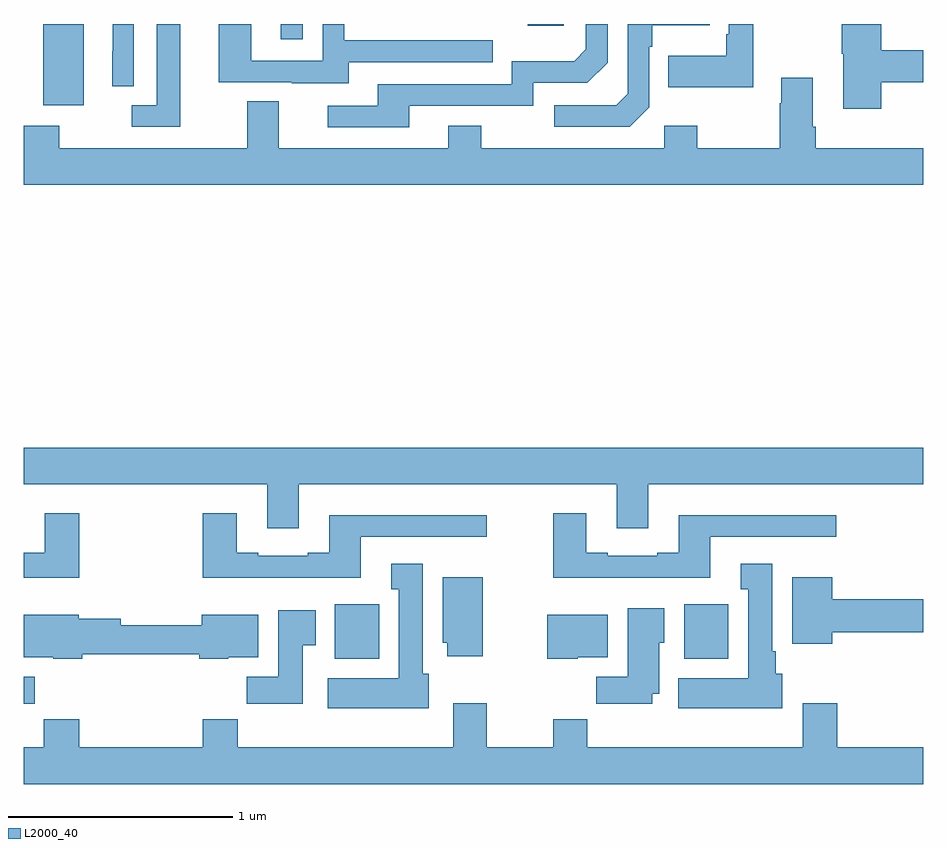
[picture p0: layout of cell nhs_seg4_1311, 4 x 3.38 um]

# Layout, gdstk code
import gdstk
lib = gdstk.Library(unit=1e-6, precision=1e-09)
def R(c, l, rs):  # rectangles x0, y0, x1, y1
    for r in rs: c.add(gdstk.rectangle(r[:2], r[2:], *l))
def P(c, l, *ps):  # polygons
    for p in ps: c.add(gdstk.Polygon(p, *l))
L2000_40 = (2000, 40)

nhs_seg4_1311 = lib.new_cell('nhs_seg4_1311')
R(nhs_seg4_1311, L2000_40, [(179,763.878,179.048,763.996), (180.383,764.078,180.58,764.32), (181.937,764.078,182.134,764.32), (179.087,766.538,179.266,766.899), (180.143,766.833,180.24,766.9), (181.241,766.892,181.402,766.9)])
P(nhs_seg4_1311, L2000_40, [(179.695,766.9),(179.591,766.9),(179.591,766.539),(179.481,766.539),(179.481,766.443),(179.695,766.443)],
  [(182.813,766.642),(183,766.642),(183,766.784),(182.813,766.784),(182.813,766.9),(182.638,766.9),(182.638,766.767),(182.645,766.767),(182.645,766.524),(182.813,766.524)],
  [(179.49,766.9),(179.396,766.9),(179.396,766.778),(179.394,766.778),(179.394,766.624),(179.49,766.624)],
  [(181.782,766.53),(181.782,766.799),(181.795,766.799),(181.795,766.895),(182.051,766.895),(182.051,766.9),(181.686,766.9),(181.686,766.59),(181.635,766.539),(181.359,766.539),(181.359,766.443),(181.695,766.443)],
  [(180.445,766.731),(181.085,766.731),(181.085,766.827),(180.426,766.827),(180.426,766.9),(180.33,766.9),(180.33,766.737),(180.012,766.737),(180.012,766.9),(179.867,766.9),(179.867,766.641),(180.191,766.641),(180.191,766.637),(180.445,766.637)],
  [(182.245,766.9),(182.136,766.9),(182.136,766.855),(182.124,766.855),(182.124,766.759),(181.867,766.759),(181.867,766.619),(182.245,766.619)],
  [(180.715,766.536),(181.266,766.536),(181.266,766.638),(181.506,766.638),(181.596,766.728),(181.596,766.9),(181.5,766.9),(181.5,766.788),(181.447,766.735),(181.17,766.735),(181.17,766.632),(180.575,766.632),(180.575,766.536),(180.351,766.536),(180.351,766.44),(180.715,766.44)],
  [(183,766.348),(182.522,766.348),(182.522,766.444),(182.509,766.444),(182.509,766.66),(182.369,766.66),(182.369,766.547),(182.362,766.547),(182.362,766.348),(181.995,766.348),(181.995,766.447),(181.848,766.447),(181.848,766.348),(181.035,766.348),(181.035,766.447),(180.887,766.447),(180.887,766.348),(180.133,766.348),(180.133,766.556),(179.993,766.556),(179.993,766.348),(179.157,766.348),(179.157,766.447),(179,766.447),(179,766.184),(183,766.184)],
  [(180.223,764.852),(181.637,764.852),(181.637,764.658),(181.777,764.658),(181.777,764.852),(183,764.852),(183,765.016),(179,765.016),(179,764.852),(180.083,764.852),(180.083,764.658),(180.223,764.658)],
  [(180.499,764.619),(181.06,764.619),(181.06,764.716),(180.359,764.716),(180.359,764.548),(180.263,764.548),(180.263,764.535),(180.043,764.535),(180.043,764.548),(179.947,764.548),(179.947,764.725),(179.795,764.725),(179.795,764.438),(180.499,764.438)],
  [(182.053,764.619),(182.614,764.619),(182.614,764.716),(181.913,764.716),(181.913,764.548),(181.817,764.548),(181.817,764.535),(181.597,764.535),(181.597,764.548),(181.501,764.548),(181.501,764.725),(181.354,764.725),(181.354,764.438),(182.053,764.438)],
  [(179.246,764.725),(179.093,764.725),(179.093,764.548),(179,764.548),(179,764.438),(179.246,764.438)],
  [(180.802,764.01),(180.775,764.01),(180.775,764.5),(180.635,764.5),(180.635,764.387),(180.668,764.387),(180.668,763.99),(180.351,763.99),(180.351,763.856),(180.802,763.856)],
  [(182.374,764.01),(182.344,764.01),(182.344,764.11),(182.329,764.11),(182.329,764.5),(182.189,764.5),(182.189,764.387),(182.222,764.387),(182.222,763.99),(181.91,763.99),(181.91,763.856),(182.374,763.856)],
  [(181.042,764.44),(180.863,764.44),(180.863,764.148),(180.884,764.148),(180.884,764.088),(181.042,764.088)],
  [(182.596,764.195),(183,764.195),(183,764.342),(182.596,764.342),(182.596,764.44),(182.417,764.44),(182.417,764.144),(182.596,764.144)],
  [(181.795,763.922),(181.825,763.922),(181.825,764.148),(181.849,764.148),(181.849,764.302),(181.685,764.302),(181.685,763.996),(181.546,763.996),(181.546,763.878),(181.795,763.878)],
  [(180.241,764.137),(180.298,764.137),(180.298,764.293),(180.131,764.293),(180.131,763.996),(179.992,763.996),(179.992,763.878),(180.241,763.878)],
  [(181.464,764.084),(181.597,764.084),(181.597,764.272),(181.328,764.272),(181.328,764.078),(181.464,764.078)],
  [(179.261,764.097),(179.78,764.097),(179.78,764.078),(179.91,764.078),(179.91,764.084),(180.043,764.084),(180.043,764.272),(179.792,764.272),(179.792,764.225),(179.431,764.225),(179.431,764.254),(179.244,764.254),(179.244,764.272),(179,764.272),(179,764.084),(179.13,764.084),(179.13,764.078),(179.261,764.078)],
  [(183,763.684),(182.618,763.684),(182.618,763.879),(182.465,763.879),(182.465,763.684),(181.505,763.684),(181.505,763.808),(181.354,763.808),(181.354,763.684),(181.059,763.684),(181.059,763.879),(180.911,763.879),(180.911,763.684),(179.951,763.684),(179.951,763.808),(179.795,763.808),(179.795,763.684),(179.246,763.684),(179.246,763.808),(179.089,763.808),(179.089,763.684),(179,763.684),(179,763.52),(183,763.52)])

lib.write_gds('nhs_seg4_1311.gds')
